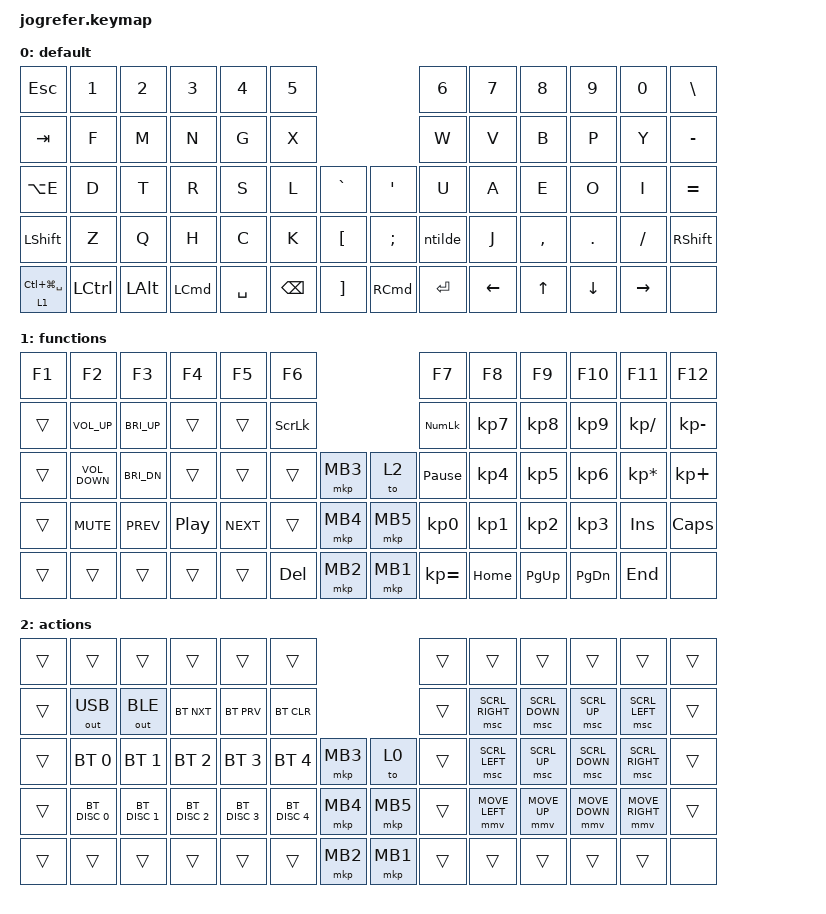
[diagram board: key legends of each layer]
#include <behaviors.dtsi>
#include <dt-bindings/zmk/bt.h>
#include <dt-bindings/zmk/keys.h>
#include <dt-bindings/zmk/outputs.h>
#include <dt-bindings/zmk/pointing.h>

/ {

   behaviors {
      mt {
         tapping-term-ms = <100>;
         flavor = "tap-preferred";
         hold-trigger-on-release;
         retro-tap;
      };

      lt {
         tapping-term-ms = <75>;
      };
   };

   macros {
      ntilde: ntilde {
         compatible = "zmk,behavior-macro";
         #binding-cells = <0>;
         bindings =
            <&macro_press &kp LALT>,
            <&macro_tap &kp N>,
            <&macro_release &kp LALT>,
            <&macro_tap &kp N>;
      };
   };

   keymap {
      compatible = "zmk,keymap";

         default_layer {
            /* ╭────────────────────╮   ╭────────────────────╮
               │  ×  1  2  3  4  5  │   │  6  7  8  9  0  \  │
               │  ⭾  F  M  N  G  X  ╰───╯  W  V  B  P  Y  -  │
               │  ⇪  D  T  R  S  L  Ç   ⌗  U  A  E  O  I  +  │
               │  `  Z  Q  H  C  K  [   <  Ñ  J  ,  .  /  ⇪  │
               │  m  ⌃  ⌥  ⌘  ␣  ←  ]   ⌘  ↩︎  ␣  ←  ↑  ↓  →  │
               ╰─────────────────────────────────────────────╯ */
            display-name = "default";
            bindings = <
               &kp ESC              &kp N1     &kp N2    &kp N3    &kp N4     &kp N5                                    &kp N6      &kp N7     &kp N8     &kp N9    &kp N0     &kp BACKSLASH
               &kp TAB              &kp F      &kp M     &kp N     &kp G      &kp X                                     &kp W       &kp V      &kp B      &kp P     &kp Y      &kp MINUS
               &kp LA(E)            &kp D      &kp T     &kp R     &kp S      &kp L          &kp GRAVE  &kp APOSTROPHE  &kp U       &kp A      &kp E      &kp O     &kp I      &kp EQUAL
               &kp LSHIFT           &kp Z      &kp Q     &kp H     &kp C      &kp K          &kp LBKT   &kp SEMICOLON   &ntilde     &kp J      &kp COMMA  &kp DOT   &kp SLASH  &kp RSHIFT
               &lt 1 LC(LG(SPACE))  &kp LCTRL  &kp LALT  &kp LCMD  &kp SPACE  &kp BACKSPACE  &kp RBKT   &kp RCMD        &kp ENTER   &kp LEFT   &kp UP     &kp DOWN  &kp RIGHT  &none
            >;
         };

         functions_layer {
            /* ╭─────────────────────────────────╮      ╭────────────────────────────────╮
               │  F1   F2   F3   F4   F5   F6    │      │  F7   F8   F9   F10  F11  F12  │
               │  Sc   VLU  BRU  BTN  BTP  BTC   ╰──────╯  CAP  7    8    9    /    -    │
               │  USB  VLD  BRD  BT0  BT1  BTD0  Ç    ⌗    PAU  4    5    6    *    +    │
               │  BLE  MUT  NXT  PLY  PRV  BTD1  MB4  MB5  NLK  1    2    3    INS  MB3  │
               │  MSL  MSD  MSU  MSR  ␣    SUPR  MB2  MB1  ↩︎    EQL  HOM  PUP  PDN  END  │
               ╰─────────────────────────────────────────────────────────────────────────╯ */
            display-name = "functions";
            bindings = <
               &kp F1  &kp F2             &kp F3        &kp F4            &kp F5        &kp F6                              &kp F7           &kp F8      &kp F9       &kp F10        &kp F11          &kp F12
               &trans  &kp C_VOL_UP       &kp C_BRI_UP  &trans            &trans        &kp SCROLLLOCK                      &kp KP_NUMLOCK   &kp KP_N7   &kp KP_N8    &kp KP_N9      &kp KP_DIVIDE    &kp KP_MINUS
               &trans  &kp C_VOLUME_DOWN  &kp C_BRI_DN  &trans            &trans        &trans          &mkp MB3  &to 2     &kp PAUSE_BREAK  &kp KP_N4   &kp KP_N5    &kp KP_N6      &kp KP_MULTIPLY  &kp KP_PLUS
               &trans  &kp C_MUTE         &kp C_PREV    &kp C_PLAY_PAUSE  &kp C_NEXT    &trans          &mkp MB4  &mkp MB5  &kp KP_N0        &kp KP_N1   &kp KP_N2    &kp KP_N3      &kp INSERT       &kp CAPSLOCK 
               &trans  &trans             &trans        &trans            &trans        &kp DEL         &mkp MB2  &mkp MB1  &kp KP_EQUAL     &kp HOME    &kp PAGE_UP  &kp PAGE_DOWN  &kp END          &none
            >;
         };


         actions_layer {
            // Esta capa es para las funciones de Bluetooth y mouse.
            display-name = "actions";
            bindings = <
               &trans  &trans         &trans         &trans         &trans         &trans                             &trans  &trans           &trans          &trans          &trans           &trans
               &trans  &out OUT_USB   &out OUT_BLE   &bt BT_NXT     &bt BT_PRV     &bt BT_CLR                         &trans  &msc SCRL_RIGHT  &msc SCRL_DOWN  &msc SCRL_UP    &msc SCRL_LEFT   &trans
               &trans  &bt BT_SEL 0   &bt BT_SEL 1   &bt BT_SEL 2   &bt BT_SEL 3   &bt BT_SEL 4   &mkp MB3  &to 0     &trans  &msc SCRL_LEFT   &msc SCRL_UP    &msc SCRL_DOWN  &msc SCRL_RIGHT  &trans
               &trans  &bt BT_DISC 0  &bt BT_DISC 1  &bt BT_DISC 2  &bt BT_DISC 3  &bt BT_DISC 4  &mkp MB4  &mkp MB5  &trans  &mmv MOVE_LEFT   &mmv MOVE_UP    &mmv MOVE_DOWN  &mmv MOVE_RIGHT  &trans 
               &trans  &trans         &trans         &trans         &trans         &trans         &mkp MB2  &mkp MB1  &trans  &trans           &trans          &trans          &trans           &none
            >;
         };
   };
};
